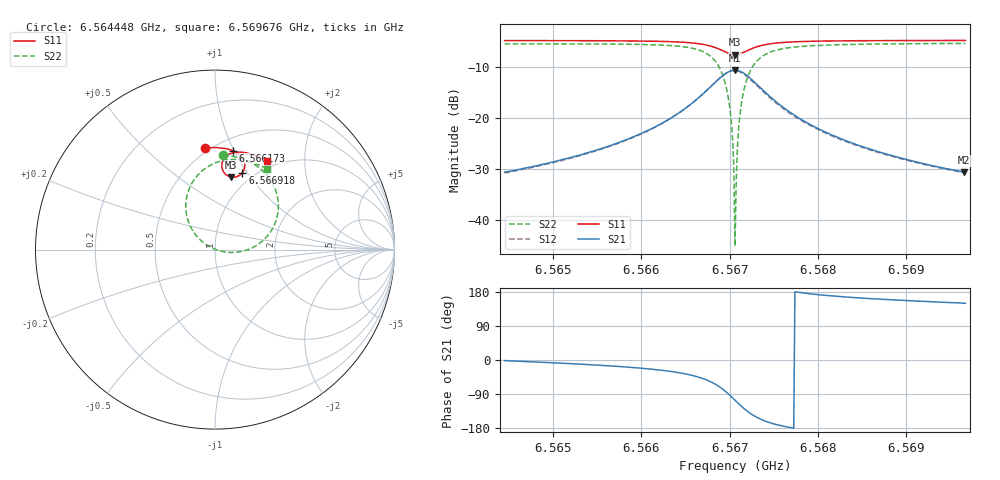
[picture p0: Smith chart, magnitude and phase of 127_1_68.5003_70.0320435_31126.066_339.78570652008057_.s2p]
#  HZ  S  RI  R  50.00
! Rohde & Schwarz Vector Network Analyzer
! Rohde-Schwarz,ZNB20-2Port,1311601062101988,3.16
! Created: UTC 3/20/2024, 4:54:12 PM
! freq[Hz]  re:S11  im:S11  re:S21  im:S21  re:S12  im:S12  re:S22  im:S22
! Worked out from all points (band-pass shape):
!   401 points, 6.564448 GHz to 6.569676 GHz, reference 50 ohm
!   highest |S21| = -10.70 dB at 6.567062 GHz (marker M1); lowest = -30.7 dB at 6.569663 GHz (marker M2)
!   |S21| within 3 dB of the highest: 6.5668 GHz to 6.567323 GHz (523.2 kHz wide, 0.00797 % of centre)
!   lowest |S11| = -7.7 dB at 6.567062 GHz (marker M3), VSWR 2.41, Z = 41.6 + j40.6 ohm
!   |S11| at or under -10 dB: nowhere
!   |S22| runs from -45.2 to -5.4 dB; largest |S21 - S12| = 0.014
!   S11 on the Smith chart (normalised r, x): 6.564448 GHz: 0.47, +0.79; 6.566173 GHz: 0.61, +0.99; 6.566918 GHz: 0.88, +0.95; 6.569676 GHz: 0.90, +1.31
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6.564448e9  -0.0552 0.5666  0.0292 -0.000784  0.0287 -0.00128  0.0467 0.5264
6.5653237e9  0.0171 0.5678  0.0427 -0.00846  0.042 -0.00898  0.1317 0.5115
6.5661733e9  0.0982 0.5518  0.0744 -0.0357  0.0734 -0.0367  0.2479 0.454
6.5661994e9  0.101 0.5506  0.0761 -0.0377  0.075 -0.0386  0.2528 0.4502
6.5667092e9  0.1611 0.4952  0.112 -0.1333  0.1094 -0.1361  0.352 0.2637
6.5669183e9  0.1526 0.4288  0.061 -0.2487  0.0521 -0.2518  0.2627 0.0462
6.5669967e9  0.1223 0.4067  -0.00771 -0.2831  -0.0201 -0.2823  0.1358 -0.0127
6.5670228e9  0.1088 0.4038  -0.0365 -0.2863  -0.0493 -0.2834  0.0837 -0.0158
6.5670359e9  0.1019 0.4032  -0.0513 -0.2859  -0.0642 -0.2817  0.0572 -0.0133
6.567049e9  0.0949 0.4035  -0.0662 -0.2838  -0.0789 -0.2787  0.0311 -0.00801
6.5670621e9  0.0876 0.4049  -0.0808 -0.2803  -0.0932 -0.274  0.0055 -4.49e-05
6.5670882e9  0.0743 0.4096  -0.1086 -0.2691  -0.12 -0.2607  -0.0421 0.0233
6.5671013e9  0.0681 0.413  -0.1213 -0.2617  -0.132 -0.2522  -0.0635 0.0383
6.5671143e9  0.0624 0.4169  -0.1332 -0.2531  -0.143 -0.2429  -0.0829 0.0552
6.5671405e9  0.0527 0.4265  -0.1535 -0.2336  -0.1613 -0.2222  -0.1153 0.0925
6.5671928e9  0.0409 0.4485  -0.1798 -0.1892  -0.1837 -0.1771  -0.1538 0.1739
6.5672581e9  0.0385 0.4758  -0.1896 -0.1361  -0.1898 -0.1253  -0.1616 0.2676
6.5675065e9  0.0767 0.5304  -0.1454 -0.0287  -0.1421 -0.0241  -0.0593 0.4484
6.5679378e9  0.1397 0.5433  -0.0832 0.00876  -0.0811 0.0101  0.0801 0.5013
6.5688135e9  0.2229 0.524  -0.0404 0.0154  -0.0394 0.0157  0.2112 0.4845
6.5696631e9  0.2865 0.494  -0.0252 0.0146  -0.0248 0.0147  0.288 0.4501
6.5696762e9  0.2875 0.4935  -0.0251 0.0148  -0.0246 0.0148  0.2889 0.4493
